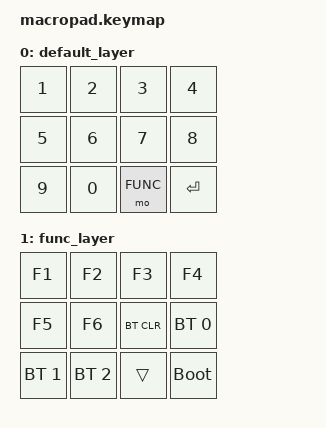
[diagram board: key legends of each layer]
#include <behaviors.dtsi>
#include <dt-bindings/zmk/keys.h>
#include <dt-bindings/zmk/bt.h>

#define DEFAULT 0
#define FUNC 1

/ {
    keymap {
        compatible = "zmk,keymap";

        default_layer {
            // 12 keys in 3x4 layout
            // Pins: 2, 3, 4, 5, 6, 7, 14, 15, 18, 19, 20, 21
            bindings = <
                &kp N1      &kp N2      &kp N3      &kp N4
                &kp N5      &kp N6      &kp N7      &kp N8
                &kp N9      &kp N0      &mo FUNC    &kp ENTER
            >;
        };

        func_layer {
            bindings = <
                &kp F1      &kp F2      &kp F3      &kp F4
                &kp F5      &kp F6      &bt BT_CLR  &bt BT_SEL 0
                &bt BT_SEL 1 &bt BT_SEL 2 &trans    &bootloader
            >;
        };
    };
};
